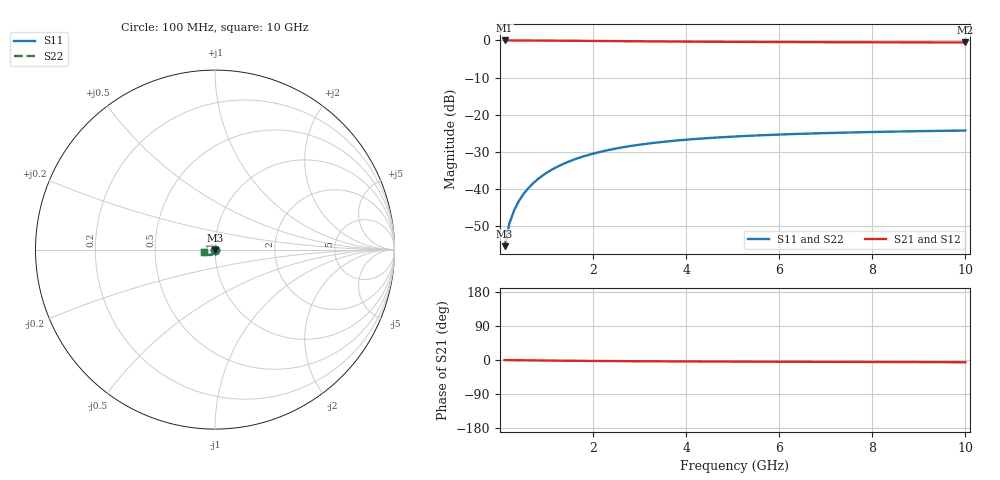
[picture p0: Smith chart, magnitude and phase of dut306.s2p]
! Touchstone file exported from HFSS 2024.1.0
!  File:  C:/UserFiles/LocalFiles/RDL_TSV_Batchsim/temp_TSV1_306_1779615279.aedt
!  Generated:  05:42:41 PM May 24, 2026
!  Design:  TSV1
!  Project:  temp_TSV1_306_1779615279
!  Setup:  Setup1
!  Solution:  Sweep
! Variables:
!  dtsv = 11.87um
!  hbump = 3um
!  htsv = 92.89um
!  lrdl = 252.1521522um
!  p = 40
!  p1 = 48.03um
!  t = 500um
!  trdl = 3um
!  wrdl = 24.89489489um
# GHz S MA R 50.000000
! Terminal data exported
! Port[1] = TSV22_T1
! Port[2] = TSV22_T2
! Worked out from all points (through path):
!   100 points, 100 MHz to 10 GHz, reference 50 ohm
!   highest |S21| = 0.00 dB at 100 MHz (marker M1); lowest = -0.5 dB at 10 GHz (marker M2)
!   lowest |S11| = -55.4 dB at 100 MHz (marker M3), VSWR 1.00, Z = 50 - j0.17 ohm
!   |S11| at or under -10 dB: start of sweep to end of sweep
!   |S22| runs from -55.4 to -24.3 dB; largest |S21 - S12| = 4.3e-15
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0.1  0.0017 -87.8  0.9998 -0.2  0.9998 -0.2  0.0017 -87.8
! Gamma 0 0 0 0
! Port Impedance 50 0 50 0
0.2  0.003394 -91.2  0.9997 -0.3  0.9997 -0.3  0.003394 -91.2
0.3  0.005088 -93.5  0.9994 -0.4  0.9994 -0.4  0.005088 -93.5
0.4  0.006775 -95.4  0.999 -0.6  0.999 -0.6  0.006775 -95.4
0.5  0.00845 -97.3  0.9986 -0.7  0.9986 -0.7  0.00845 -97.3
0.6  0.01011 -99.0  0.9981 -0.9  0.9981 -0.9  0.01011 -99.0
0.7  0.01174 -100.8  0.9974 -1.0  0.9974 -1.0  0.01174 -100.8
0.8  0.01335 -102.5  0.9968 -1.2  0.9968 -1.2  0.01335 -102.5
0.9  0.01493 -104.1  0.996 -1.3  0.996 -1.3  0.01493 -104.1
1.1  0.018 -107.3  0.9943 -1.5  0.9943 -1.5  0.018 -107.3
1.4  0.02232 -111.9  0.9914 -1.9  0.9914 -1.9  0.02232 -111.9
1.6  0.02501 -114.8  0.9893 -2.1  0.9893 -2.1  0.02501 -114.8
1.8  0.02753 -117.6  0.9871 -2.3  0.9871 -2.3  0.02753 -117.6
2.1  0.03102 -121.5  0.9838 -2.6  0.9838 -2.6  0.03102 -121.5
2.5  0.03512 -126.3  0.9793 -2.9  0.9793 -2.9  0.03512 -126.3
2.9  0.03867 -130.6  0.975 -3.2  0.975 -3.2  0.03867 -130.6
3.4  0.04241 -135.4  0.97 -3.5  0.97 -3.5  0.04241 -135.4
4.2  0.04714 -142.0  0.9632 -3.9  0.9632 -3.9  0.04714 -142.0
5.1  0.05111 -148.0  0.9569 -4.2  0.9569 -4.2  0.0511 -148.0
6.7  0.05591 -156.4  0.9488 -4.8  0.9488 -4.8  0.05591 -156.4
8.4  0.05918 -163.3  0.9431 -5.3  0.9431 -5.3  0.05918 -163.3
10  0.0613 -168.5  0.9393 -5.9  0.9393 -5.9  0.0613 -168.5
